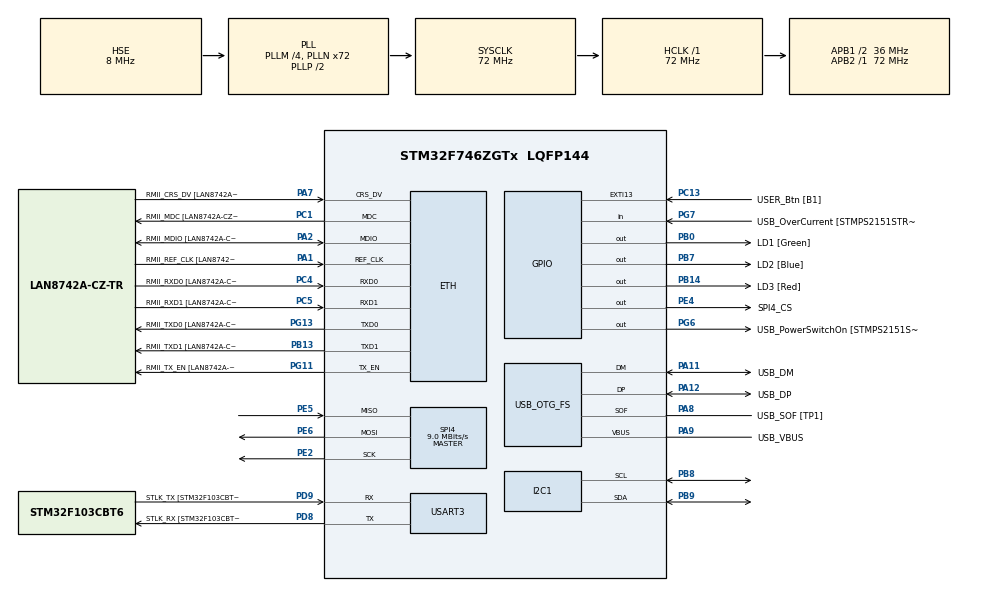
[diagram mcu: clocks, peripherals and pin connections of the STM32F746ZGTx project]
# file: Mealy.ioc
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ETH.MediaInterface=HAL_ETH_RMII_MODE
ETH.PHY_Name=LAN8742A_PHY_ADDRESS
ETH.PHY_Value=0
ETH.PhyAddress=0
I2C1.Timing=0x00808CD2
Mcu.Family=STM32F7
Mcu.Name=STM32F746ZGTx
Mcu.Package=LQFP144
NVIC.PriorityGroup=NVIC_PRIORITYGROUP_4
PA1.GPIO_Label=RMII_REF_CLK [LAN8742A-CZ-TR_REFCLK0]
PA1.Mode=RMII
PA1.Signal=ETH_REF_CLK
PA10.GPIO_Label=USB_ID
PA10.Signal=USB_OTG_FS_ID
PA11.GPIO_Label=USB_DM
PA11.Mode=Device_Only
PA11.Signal=USB_OTG_FS_DM
PA12.GPIO_Label=USB_DP
PA12.Mode=Device_Only
PA12.Signal=USB_OTG_FS_DP
PA13.GPIO_Label=TMS
PA13.Mode=Serial_Wire
PA13.Signal=SYS_JTMS-SWDIO
PA14.GPIO_Label=TCK
PA14.Mode=Serial_Wire
PA14.Signal=SYS_JTCK-SWCLK
PA2.GPIO_Label=RMII_MDIO [LAN8742A-CZ-TR_MDIO]
PA2.Mode=RMII
PA2.Signal=ETH_MDIO
PA7.GPIO_Label=RMII_CRS_DV [LAN8742A-CZ-TR_CRS_DV]
PA7.Mode=RMII
PA7.Signal=ETH_CRS_DV
PA8.GPIO_Label=USB_SOF [TP1]
PA8.Mode=Activate_SOF_FS
PA8.Signal=USB_OTG_FS_SOF
PA9.GPIO_Label=USB_VBUS
PA9.Mode=Activate_VBUS
PA9.Signal=USB_OTG_FS_VBUS
PB0.GPIO_Label=LD1 [Green]
PB0.Signal=GPIO_Output
PB13.GPIO_Label=RMII_TXD1 [LAN8742A-CZ-TR_TXD1]
PB13.Mode=RMII
PB13.Signal=ETH_TXD1
PB14.GPIO_Label=LD3 [Red]
PB14.Signal=GPIO_Output
PB3.GPIO_Label=SW0
PB3.Signal=SYS_JTDO-SWO
PB7.GPIO_Label=LD2 [Blue]
PB7.Signal=GPIO_Output
PB8.Mode=I2C
PB8.Signal=I2C1_SCL
PB9.Mode=I2C
PB9.Signal=I2C1_SDA
PC1.GPIO_Label=RMII_MDC [LAN8742A-CZ-TR_MDC]
PC1.Mode=RMII
PC1.Signal=ETH_MDC
PC13.GPIO_Label=USER_Btn [B1]
PC13.Signal=GPXTI13
PC14/OSC32_IN.Mode=LSE-External-Oscillator
PC14/OSC32_IN.Signal=RCC_OSC32_IN
PC15/OSC32_OUT.Mode=LSE-External-Oscillator
PC15/OSC32_OUT.Signal=RCC_OSC32_OUT
PC4.GPIO_Label=RMII_RXD0 [LAN8742A-CZ-TR_RXD0]
PC4.Mode=RMII
PC4.Signal=ETH_RXD0
PC5.GPIO_Label=RMII_RXD1 [LAN8742A-CZ-TR_RXD1]
PC5.Mode=RMII
PC5.Signal=ETH_RXD1
PD8.GPIO_Label=STLK_RX [STM32F103CBT6_PA3]
PD8.GPIO_PuPd=GPIO_PULLUP
PD8.Mode=Asynchronous
PD8.Signal=USART3_TX
PD9.GPIO_Label=STLK_TX [STM32F103CBT6_PA2]
PD9.GPIO_PuPd=GPIO_PULLUP
PD9.Mode=Asynchronous
PD9.Signal=USART3_RX
PE2.Mode=Full_Duplex_Master
PE2.Signal=SPI4_SCK
PE4.GPIO_Label=SPI4_CS
PE4.Signal=GPIO_Output
PE5.Mode=Full_Duplex_Master
PE5.Signal=SPI4_MISO
PE6.Mode=Full_Duplex_Master
PE6.Signal=SPI4_MOSI
PG11.GPIO_Label=RMII_TX_EN [LAN8742A-CZ-TR_TXEN]
PG11.Mode=RMII
PG11.Signal=ETH_TX_EN
PG13.GPIO_Label=RMII_TXD0 [LAN8742A-CZ-TR_TXD0]
PG13.Mode=RMII
PG13.Signal=ETH_TXD0
PG6.GPIO_Label=USB_PowerSwitchOn [STMPS2151STR_EN]
PG6.Signal=GPIO_Output
PG7.GPIO_Label=USB_OverCurrent [STMPS2151STR_FAULT]
PG7.Signal=GPIO_Input
PH0/OSC_IN.GPIO_Label=MCO [STM32F103CBT6_PA8]
PH0/OSC_IN.Mode=HSE-External-Clock-Source
PH0/OSC_IN.Signal=RCC_OSC_IN
PH1/OSC_OUT.Mode=HSE-External-Clock-Source
PH1/OSC_OUT.Signal=RCC_OSC_OUT
ProjectManager.HeapSize=0x200
ProjectManager.StackSize=0x400
ProjectManager.TargetToolchain=STM32CubeIDE
RCC.48MHZClocksFreq_Value=24000000
RCC.AHBFreq_Value=72000000
RCC.APB1CLKDivider=RCC_HCLK_DIV2
RCC.APB1Freq_Value=36000000
RCC.APB1TimFreq_Value=72000000
RCC.APB2Freq_Value=72000000
RCC.APB2TimFreq_Value=72000000
RCC.CortexFreq_Value=72000000
RCC.HCLKFreq_Value=72000000
RCC.HSE_VALUE=8000000
RCC.HSI_VALUE=16000000
RCC.PLLM=4
RCC.PLLMUL=RCC_PLL_MUL9
RCC.PLLN=72
RCC.PLLQ=3
RCC.PRESCALERUSB=RCC_USBCLKSOURCE_PLL_DIV1_5
RCC.SYSCLKFreq_VALUE=72000000
RCC.SYSCLKSource=RCC_SYSCLKSOURCE_PLLCLK
RCC.SYSCLKSourceVirtual=RCC_SYSCLKSOURCE_PLLCLK
RCC.USBFreq_Value=48000000
RCC.VCOOutputFreq_Value=144000000
SPI4.BaudRatePrescaler=SPI_BAUDRATEPRESCALER_8
SPI4.CalculateBaudRate=9.0 MBits/s
SPI4.DataSize=SPI_DATASIZE_8BIT
SPI4.Direction=SPI_DIRECTION_2LINES
SPI4.Mode=SPI_MODE_MASTER
SPI4.VirtualType=VM_MASTER
USART3.VirtualMode-Asynchronous=VM_ASYNC
USB_OTG_FS.VirtualMode=Device_Only
VP_FATFS_VS_Generic.Mode=User_defined
board=NUCLEO-F746ZG

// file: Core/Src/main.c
/* USER CODE BEGIN Header */
/**
  ******************************************************************************
  * @file           : main.c
  * @brief          : Main program body
  ******************************************************************************
  * @attention
  *
  * Copyright (c) 2023 STMicroelectronics.
  * All rights reserved.
  *
  * This software is licensed under terms that can be found in the LICENSE file
  * in the root directory of this software component.
  * If no LICENSE file comes with this software, it is provided AS-IS.
  *
  ******************************************************************************
  */
/* USER CODE END Header */
#include "main.h"
#include "string.h"
#include "fatfs.h"

/* USER CODE BEGIN Includes */
#include "MPU6050.h"
#include <stdio.h>
#include <stdarg.h> // for va_list and va_arg functions

/* USER CODE END Includes */

/* USER CODE BEGIN PD */

#define	ENABLE_FILE_WRITE 	0  /* set to 1 to enable writing data to SD card*/
#define ENABLE_FILTER		0  /* set to 1 to enable complementary filter */

#define ONE_G 				(9.81)

/* USER CODE END PD */

#if defined ( __ICCARM__ ) /*!< IAR Compiler */
#pragma location=0x2004c000
ETH_DMADescTypeDef  DMARxDscrTab[ETH_RX_DESC_CNT]; /* Ethernet Rx DMA Descriptors */
#pragma location=0x2004c0a0
ETH_DMADescTypeDef  DMATxDscrTab[ETH_TX_DESC_CNT]; /* Ethernet Tx DMA Descriptors */

#elif defined ( __CC_ARM )  /* MDK ARM Compiler */

__attribute__((at(0x2004c000))) ETH_DMADescTypeDef  DMARxDscrTab[ETH_RX_DESC_CNT]; /* Ethernet Rx DMA Descriptors */
__attribute__((at(0x2004c0a0))) ETH_DMADescTypeDef  DMATxDscrTab[ETH_TX_DESC_CNT]; /* Ethernet Tx DMA Descriptors */

#elif defined ( __GNUC__ ) /* GNU Compiler */
ETH_DMADescTypeDef DMARxDscrTab[ETH_RX_DESC_CNT] __attribute__((section(".RxDecripSection"))); /* Ethernet Rx DMA Descriptors */
ETH_DMADescTypeDef DMATxDscrTab[ETH_TX_DESC_CNT] __attribute__((section(".TxDecripSection")));   /* Ethernet Tx DMA Descriptors */

#endif

ETH_TxPacketConfig TxConfig;

ETH_HandleTypeDef heth;

I2C_HandleTypeDef hi2c1;

SPI_HandleTypeDef hspi4;

UART_HandleTypeDef huart3;

PCD_HandleTypeDef hpcd_USB_OTG_FS;

/* USER CODE BEGIN PV */
char msg[20] = "";
char mpu_data[100];
char data[40] = ""; // sd card test char array

// create accelerometer struct
MPU6050 acc;
MPU6050* p_acc = &acc; // pointer to accelerometer
float x_acc_ms, y_acc_ms, z_acc_ms;

// struct to hold both accelerometer data and the gyroscope data
typedef struct {
	float x_acc;
	float y_acc;
	float z_acc;
	float gyro_x;
	float gyro_y;
	float gyro_z;
} SensorData;

SensorData sensorData;

// use this pointer to store raw sensor data
SensorData* p_SensorData = &sensorData;

// struct to hold filtered sensor data - angles to be specific
// these are angle estimates, not accurate angles
typedef struct {
	float x_angle_estimate;
	float y_angle_estimate;
	float z_angle_estimate;

} FilteredAngles;
FilteredAngles filtered_angles;
FilteredAngles* p_filtered_angles = &filtered_angles;

// variables to store the rotation angles of the sensor
unsigned long 	last_read_time;
float			last_x_angle; // filtered angles
float 			last_y_angle;
float			last_z_angle;
float			last_gyro_x_angle; // store the gyro angles to compare drift
float			last_gyro_y_angle;
float 			last_gyro_z_angle;

// radians to degrees conversion factor
float RADS_TO_DEG = 180.0 / 3.14159;
float alpha = 0.96;

// function to set the current angle readings to the last read angles
void set_last_read_angle_data(
		unsigned long time,
		float x,
		float y,
		float z,
		float x_gyro,
		float y_gyro,
		float z_gyro
		) {
	last_read_time = time;
	last_x_angle = x;
	last_y_angle = y;
	last_z_angle = z;
	last_gyro_x_angle = x_gyro;
	last_gyro_y_angle = y_gyro;
	last_gyro_z_angle = z_gyro;
}

// calibration variables
float	base_x_accel;
float 	base_y_accel;
float	base_z_accel;
float 	base_x_gyro;
float	base_y_gyro;
float	base_z_gyro;

// function to callibrate sensors
void callibrate_sensor(){
	int		num_readings = 10;
	float 	x_accel = 0;
	float	y_accel = 0;
	float 	z_accel	= 0;
	float	x_gyro	= 0;
	float 	y_gyro	= 0;
	float	z_gyro	= 0;

	// read and average the raw values from the IMU
	myPrintf("Callibrating sensor...\r");

	for(int i = 0; i < num_readings; i++){
		// read accelerometer
		MPU6050_ReadAcceleration(&acc);

		// Read gyroscope values
		MPU6050_ReadGyroscope(&acc);

		// convert accelerometer readings to m/s^2
		x_acc_ms = p_acc->acc_mps2[0] * ONE_G;
		y_acc_ms = p_acc->acc_mps2[1] * ONE_G;
		z_acc_ms = p_acc->acc_mps2[2] * ONE_G;

		x_accel += x_acc_ms;
		y_accel += y_acc_ms;
		z_accel += z_acc_ms;
		x_gyro += p_acc->gyro_data[0];
		y_gyro += p_acc->gyro_data[1];
		z_gyro += p_acc->gyro_data[2];

		HAL_Delay(100);

	}

	// average the readings
	x_accel /= num_readings;
	y_accel /= num_readings;
	z_accel /= num_readings;
	x_gyro /= num_readings;
	y_gyro /= num_readings;
	z_gyro /= num_readings;

	// Store the raw calibration values globally
	base_x_accel = x_accel;
	base_y_accel = y_accel;
	base_z_accel = z_accel;
	base_x_gyro = x_gyro;
	base_y_gyro = y_gyro;
	base_z_gyro = z_gyro;

	myPrintf("Callibration done!\r");

}

/* USER CODE END PV */

void SystemClock_Config(void);
static void MX_GPIO_Init(void);
static void MX_ETH_Init(void);
static void MX_USART3_UART_Init(void);
static void MX_USB_OTG_FS_PCD_Init(void);
static void MX_I2C1_Init(void);
static void MX_SPI4_Init(void);

/* USER CODE BEGIN PFP */
void myPrintf(const char *fmt, ...);

/* USER CODE END PFP */

/* USER CODE BEGIN 0 */
void myPrintf(const char* fmt, ...){
	static char buffer[256];
	va_list args;
	va_start(args, fmt);
	vsnprintf(buffer, sizeof(buffer), fmt, args);
	va_end(args);

	int len = strlen(buffer);
	HAL_UART_Transmit(&huart3, (uint8_t*)buffer, len, -1);
}

/* USER CODE END 0 */

int main(void)
{

  /* MCU Configuration--------------------------------------------------------*/

  /* Reset of all peripherals, Initializes the Flash interface and the Systick. */
  HAL_Init();

  /* Configure the system clock */
  SystemClock_Config();

  /* Initialize all configured peripherals */
  MX_GPIO_Init();
  MX_ETH_Init();
  MX_USART3_UART_Init();
  MX_USB_OTG_FS_PCD_Init();
  MX_I2C1_Init();
  MX_SPI4_Init();
  MX_FATFS_Init();

  /* USER CODE BEGIN 2 */

	#if ENABLE_FILE_WRITE /* enable file write operations */

		  /*-------------------------FILE HANDLING FUNCTIONS--------------------------------*/
		  // this code was used for testing out the filtering algorithms
		  // initialise the SD card
		  HAL_Delay(1000);

		  FATFS FatFs; // fatfs handle
		  FIL fil; // file handle
		  FRESULT fres; // result after operations
		  BYTE readBuf[50];

		  // Open the file system
		  fres = f_mount(&FatFs, "", 1); //1=mount now
		  if (fres != FR_OK) {
			  myPrintf("[-]f_mount error (%i) \n", fres);
			  while(1);
		  } else {
			  myPrintf("[+] SD Card Init OK! \r\n");
		  }

	#endif

  /*-------------------------INERTIAL MEASUREMENT UNIT FUNCTIONS--------------------------------*/
  MPU6050_Initialise(&acc, &hi2c1);// TODO: check init status here

  // calibrate the sensor
  callibrate_sensor();

  // initialise the sensor angles to known values
  set_last_read_angle_data(HAL_GetTick(), 0, 0, 0, 0, 0, 0);

  /* USER CODE END 2 */

  /* Infinite loop */
  while (1){

    /* USER CODE BEGIN 3 */

	// read accelerometer values
	MPU6050_ReadAcceleration(&acc);

	// Read gyroscope values
	MPU6050_ReadGyroscope(&acc);

	// convert accelerometer readings to m/s^2
	x_acc_ms = p_acc->acc_mps2[0] * ONE_G;
	y_acc_ms = p_acc->acc_mps2[1] * ONE_G;
	z_acc_ms = p_acc->acc_mps2[2] * ONE_G;

	// compose acceleration data
//	sprintf(mpu_data,
//		  "x_acc: %.2f, y_acc: %.2f, z_acc: %.2f || x_deg: %.2f, y_deg: %.2f, z_deg: %.2f, \r\n",
//		  x_acc_ms,
//		  y_acc_ms,
//		  z_acc_ms,
//		  p_acc->gyro_data[0],
//		  p_acc->gyro_data[1],
//		  p_acc->gyro_data[2]
//	);

	/* get orientation - tilt on x and y axis */

	// get the time of reading for rotation computations
	unsigned long t_now = HAL_GetTick();

	// set accelerometer data
	p_SensorData->x_acc = x_acc_ms;
	p_SensorData->y_acc = y_acc_ms;
	p_SensorData->z_acc = z_acc_ms;

	// these gyro values are in degrees per second
	p_SensorData->gyro_x = p_acc->gyro_data[0] - base_x_gyro;
	p_SensorData->gyro_y = p_acc->gyro_data[1] - base_y_gyro;
	p_SensorData->gyro_z = p_acc->gyro_data[2] - base_z_gyro;

	float accel_angle_y = atan(-1 * p_SensorData->x_acc/sqrt(pow(p_SensorData->y_acc, 2) + pow(p_SensorData->z_acc, 2))) * RADS_TO_DEG;
	float accel_angle_x = atan(p_SensorData->y_acc / sqrt(pow(p_SensorData->x_acc, 2) + pow(p_SensorData->z_acc, 2) )) * RADS_TO_DEG;
	float accel_angle_z = 0;

	// compute the filtered gyro angles
	float dt = (t_now - last_read_time) / 1000.0 ; // last read time in seconds
	float gyro_angle_x = p_SensorData->gyro_x * dt + last_gyro_x_angle;
	float gyro_angle_y = p_SensorData->gyro_y * dt + last_gyro_y_angle;
	float gyro_angle_z = p_SensorData->gyro_z * dt + last_gyro_z_angle;

	/* Apply complementary filter */
	p_filtered_angles->x_angle_estimate = alpha * gyro_angle_x + (1 - alpha) * (accel_angle_x);
	p_filtered_angles->y_angle_estimate = alpha * gyro_angle_y + (1 - alpha) * (accel_angle_y);
	p_filtered_angles->z_angle_estimate = gyro_angle_z; // accelerometer doesn't give z-angle

	// update the saved data with the latest values
	set_last_read_angle_data(t_now,
			p_filtered_angles->x_angle_estimate,
			p_filtered_angles->y_angle_estimate,
			p_filtered_angles->z_angle_estimate,
			gyro_angle_x,
			gyro_angle_y,
			gyro_angle_z
			);

	// construct debug data string
	sprintf(mpu_data,
			".2f, %.2f, %.2f, %.2f, %.2f, %.2f, %.2f, %.2f, %.2f \r\n",
			accel_angle_x,
			accel_angle_y,
			accel_angle_z,
			gyro_angle_x,
			gyro_angle_y,
			gyro_angle_z,
			p_filtered_angles->x_angle_estimate,
			p_filtered_angles->y_angle_estimate,
			p_filtered_angles->z_angle_estimate
	);

	// send data over USART3 TODO: change USART channel for BluePill
	HAL_UART_Transmit(&huart3, mpu_data, sizeof(mpu_data), 10000);

	// activate file writing if needed
	#if ENABLE_FILE_WRITE
		// do the actual writing
		strncpy((char*) readBuf, mpu_data, 20); // create a string to write to sd - readBuf holds this string
		// TODO: remove magic numbers on char sizes

		UINT bytesWrote;
		fres = f_open(&fil, "data.txt", FA_WRITE | FA_OPEN_APPEND);

		// move file pointer to the end of file to append - this FatFS version has no FA_OPEN_APPEND
		f_lseek(&fil, f_size(&fil));

		if(fres == FR_OK) {
			myPrintf("[+]Open success\r\n");
		} else {
			myPrintf("[-]file open error (%i)\r\n", fres);
		}

		fres = f_write(&fil, readBuf, 60, &bytesWrote);

		if(fres == FR_OK) {
			myPrintf("[+]Wrote %i bytes to 'test.txt'!\r\n", bytesWrote);
		} else {
			myPrintf("[-]f_write error (%i)\r\n", fres);
		}

		// close the file!
		f_close(&fil);

	#endif

	HAL_Delay(10);

  }

  /* USER CODE END 3 */
}

void SystemClock_Config(void)
{
  RCC_OscInitTypeDef RCC_OscInitStruct = {0};
  RCC_ClkInitTypeDef RCC_ClkInitStruct = {0};

  /** Configure LSE Drive Capability
  */
  HAL_PWR_EnableBkUpAccess();

  /** Configure the main internal regulator output voltage
  */
  __HAL_RCC_PWR_CLK_ENABLE();
  __HAL_PWR_VOLTAGESCALING_CONFIG(PWR_REGULATOR_VOLTAGE_SCALE3);

  /** Initializes the RCC Oscillators according to the specified parameters
  * in the RCC_OscInitTypeDef structure.
  */
  RCC_OscInitStruct.OscillatorType = RCC_OSCILLATORTYPE_HSE;
  RCC_OscInitStruct.HSEState = RCC_HSE_BYPASS;
  RCC_OscInitStruct.PLL.PLLState = RCC_PLL_ON;
  RCC_OscInitStruct.PLL.PLLSource = RCC_PLLSOURCE_HSE;
  RCC_OscInitStruct.PLL.PLLM = 4;
  RCC_OscInitStruct.PLL.PLLN = 72;
  RCC_OscInitStruct.PLL.PLLP = RCC_PLLP_DIV2;
  RCC_OscInitStruct.PLL.PLLQ = 3;
  if (HAL_RCC_OscConfig(&RCC_OscInitStruct) != HAL_OK)
  {
    Error_Handler();
  }

  /** Initializes the CPU, AHB and APB buses clocks
  */
  RCC_ClkInitStruct.ClockType = RCC_CLOCKTYPE_HCLK|RCC_CLOCKTYPE_SYSCLK
                              |RCC_CLOCKTYPE_PCLK1|RCC_CLOCKTYPE_PCLK2;
  RCC_ClkInitStruct.SYSCLKSource = RCC_SYSCLKSOURCE_PLLCLK;
  RCC_ClkInitStruct.AHBCLKDivider = RCC_SYSCLK_DIV1;
  RCC_ClkInitStruct.APB1CLKDivider = RCC_HCLK_DIV2;
  RCC_ClkInitStruct.APB2CLKDivider = RCC_HCLK_DIV1;

  if (HAL_RCC_ClockConfig(&RCC_ClkInitStruct, FLASH_LATENCY_2) != HAL_OK)
  {
    Error_Handler();
  }
}

static void MX_ETH_Init(void)
{

   static uint8_t MACAddr[6];

  heth.Instance = ETH;
  MACAddr[0] = 0x00;
  MACAddr[1] = 0x80;
  MACAddr[2] = 0xE1;
  MACAddr[3] = 0x00;
  MACAddr[4] = 0x00;
  MACAddr[5] = 0x00;
  heth.Init.MACAddr = &MACAddr[0];
  heth.Init.MediaInterface = HAL_ETH_RMII_MODE;
  heth.Init.TxDesc = DMATxDscrTab;
  heth.Init.RxDesc = DMARxDscrTab;
  heth.Init.RxBuffLen = 1524;

  if (HAL_ETH_Init(&heth) != HAL_OK)
  {
    Error_Handler();
  }

  memset(&TxConfig, 0 , sizeof(ETH_TxPacketConfig));
  TxConfig.Attributes = ETH_TX_PACKETS_FEATURES_CSUM | ETH_TX_PACKETS_FEATURES_CRCPAD;
  TxConfig.ChecksumCtrl = ETH_CHECKSUM_IPHDR_PAYLOAD_INSERT_PHDR_CALC;
  TxConfig.CRCPadCtrl = ETH_CRC_PAD_INSERT;

}

static void MX_I2C1_Init(void)
{

  hi2c1.Instance = I2C1;
  hi2c1.Init.Timing = 0x00808CD2;
  hi2c1.Init.OwnAddress1 = 0;
  hi2c1.Init.AddressingMode = I2C_ADDRESSINGMODE_7BIT;
  hi2c1.Init.DualAddressMode = I2C_DUALADDRESS_DISABLE;
  hi2c1.Init.OwnAddress2 = 0;
  hi2c1.Init.OwnAddress2Masks = I2C_OA2_NOMASK;
  hi2c1.Init.GeneralCallMode = I2C_GENERALCALL_DISABLE;
  hi2c1.Init.NoStretchMode = I2C_NOSTRETCH_DISABLE;
  if (HAL_I2C_Init(&hi2c1) != HAL_OK)
  {
    Error_Handler();
  }

  /** Configure Analogue filter
  */
  if (HAL_I2CEx_ConfigAnalogFilter(&hi2c1, I2C_ANALOGFILTER_ENABLE) != HAL_OK)
  {
    Error_Handler();
  }

  /** Configure Digital filter
  */
  if (HAL_I2CEx_ConfigDigitalFilter(&hi2c1, 0) != HAL_OK)
  {
    Error_Handler();
  }

}

static void MX_SPI4_Init(void)
{

  /* SPI4 parameter configuration*/
  hspi4.Instance = SPI4;
  hspi4.Init.Mode = SPI_MODE_MASTER;
  hspi4.Init.Direction = SPI_DIRECTION_2LINES;
  hspi4.Init.DataSize = SPI_DATASIZE_8BIT;
  hspi4.Init.CLKPolarity = SPI_POLARITY_LOW;
  hspi4.Init.CLKPhase = SPI_PHASE_1EDGE;
  hspi4.Init.NSS = SPI_NSS_SOFT;
  hspi4.Init.BaudRatePrescaler = SPI_BAUDRATEPRESCALER_8;
  hspi4.Init.FirstBit = SPI_FIRSTBIT_MSB;
  hspi4.Init.TIMode = SPI_TIMODE_DISABLE;
  hspi4.Init.CRCCalculation = SPI_CRCCALCULATION_DISABLE;
  hspi4.Init.CRCPolynomial = 7;
  hspi4.Init.CRCLength = SPI_CRC_LENGTH_DATASIZE;
  hspi4.Init.NSSPMode = SPI_NSS_PULSE_ENABLE;
  if (HAL_SPI_Init(&hspi4) != HAL_OK)
  {
    Error_Handler();
  }

}

static void MX_USART3_UART_Init(void)
{

  huart3.Instance = USART3;
  huart3.Init.BaudRate = 115200;
  huart3.Init.WordLength = UART_WORDLENGTH_8B;
  huart3.Init.StopBits = UART_STOPBITS_1;
  huart3.Init.Parity = UART_PARITY_NONE;
  huart3.Init.Mode = UART_MODE_TX_RX;
  huart3.Init.HwFlowCtl = UART_HWCONTROL_NONE;
  huart3.Init.OverSampling = UART_OVERSAMPLING_16;
  huart3.Init.OneBitSampling = UART_ONE_BIT_SAMPLE_DISABLE;
  huart3.AdvancedInit.AdvFeatureInit = UART_ADVFEATURE_NO_INIT;
  if (HAL_UART_Init(&huart3) != HAL_OK)
  {
    Error_Handler();
  }

}

static void MX_USB_OTG_FS_PCD_Init(void)
{

  hpcd_USB_OTG_FS.Instance = USB_OTG_FS;
  hpcd_USB_OTG_FS.Init.dev_endpoints = 6;
  hpcd_USB_OTG_FS.Init.speed = PCD_SPEED_FULL;
  hpcd_USB_OTG_FS.Init.dma_enable = DISABLE;
  hpcd_USB_OTG_FS.Init.phy_itface = PCD_PHY_EMBEDDED;
  hpcd_USB_OTG_FS.Init.Sof_enable = ENABLE;
  hpcd_USB_OTG_FS.Init.low_power_enable = DISABLE;
  hpcd_USB_OTG_FS.Init.lpm_enable = DISABLE;
  hpcd_USB_OTG_FS.Init.vbus_sensing_enable = ENABLE;
  hpcd_USB_OTG_FS.Init.use_dedicated_ep1 = DISABLE;
  if (HAL_PCD_Init(&hpcd_USB_OTG_FS) != HAL_OK)
  {
    Error_Handler();
  }

}

static void MX_GPIO_Init(void)
{
  GPIO_InitTypeDef GPIO_InitStruct = {0};

  /* GPIO Ports Clock Enable */
  __HAL_RCC_GPIOE_CLK_ENABLE();
  __HAL_RCC_GPIOC_CLK_ENABLE();
  __HAL_RCC_GPIOH_CLK_ENABLE();
  __HAL_RCC_GPIOA_CLK_ENABLE();
  __HAL_RCC_GPIOB_CLK_ENABLE();
  __HAL_RCC_GPIOD_CLK_ENABLE();
  __HAL_RCC_GPIOG_CLK_ENABLE();

  /*Configure GPIO pin Output Level */
  HAL_GPIO_WritePin(SPI4_CS_GPIO_Port, SPI4_CS_Pin, GPIO_PIN_RESET);

  /*Configure GPIO pin Output Level */
  HAL_GPIO_WritePin(GPIOB, LD1_Pin|LD3_Pin|LD2_Pin, GPIO_PIN_RESET);

  /*Configure GPIO pin Output Level */
  HAL_GPIO_WritePin(USB_PowerSwitchOn_GPIO_Port, USB_PowerSwitchOn_Pin, GPIO_PIN_RESET);

  /*Configure GPIO pin : SPI4_CS_Pin */
  GPIO_InitStruct.Pin = SPI4_CS_Pin;
  GPIO_InitStruct.Mode = GPIO_MODE_OUTPUT_PP;
  GPIO_InitStruct.Pull = GPIO_NOPULL;
  GPIO_InitStruct.Speed = GPIO_SPEED_FREQ_LOW;
  HAL_GPIO_Init(SPI4_CS_GPIO_Port, &GPIO_InitStruct);

  /*Configure GPIO pin : USER_Btn_Pin */
  GPIO_InitStruct.Pin = USER_Btn_Pin;
  GPIO_InitStruct.Mode = GPIO_MODE_IT_RISING;
  GPIO_InitStruct.Pull = GPIO_NOPULL;
  HAL_GPIO_Init(USER_Btn_GPIO_Port, &GPIO_InitStruct);

  /*Configure GPIO pins : LD1_Pin LD3_Pin LD2_Pin */
  GPIO_InitStruct.Pin = LD1_Pin|LD3_Pin|LD2_Pin;
  GPIO_InitStruct.Mode = GPIO_MODE_OUTPUT_PP;
  GPIO_InitStruct.Pull = GPIO_NOPULL;
  GPIO_InitStruct.Speed = GPIO_SPEED_FREQ_LOW;
  HAL_GPIO_Init(GPIOB, &GPIO_InitStruct);

  /*Configure GPIO pin : USB_PowerSwitchOn_Pin */
  GPIO_InitStruct.Pin = USB_PowerSwitchOn_Pin;
  GPIO_InitStruct.Mode = GPIO_MODE_OUTPUT_PP;
  GPIO_InitStruct.Pull = GPIO_NOPULL;
  GPIO_InitStruct.Speed = GPIO_SPEED_FREQ_LOW;
  HAL_GPIO_Init(USB_PowerSwitchOn_GPIO_Port, &GPIO_InitStruct);

  /*Configure GPIO pin : USB_OverCurrent_Pin */
  GPIO_InitStruct.Pin = USB_OverCurrent_Pin;
  GPIO_InitStruct.Mode = GPIO_MODE_INPUT;
  GPIO_InitStruct.Pull = GPIO_NOPULL;
  HAL_GPIO_Init(USB_OverCurrent_GPIO_Port, &GPIO_InitStruct);

}

void Error_Handler(void)
{
  __disable_irq();
  while (1)
  {
  }
}
